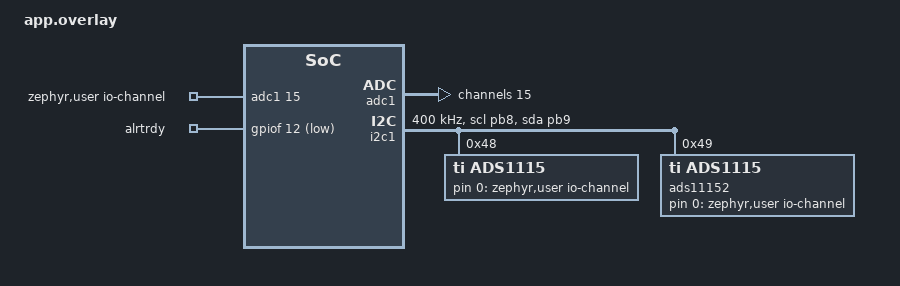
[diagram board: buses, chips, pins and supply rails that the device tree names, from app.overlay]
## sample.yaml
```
sample:
  description: Current Sensor on Modbus TCP with STM32H743ZI
  name: current_sensor_modbus
common:
  tags: Current Sensor for PV Power Plant
  integration_platforms:
    - native_posix
  harness: console
  harness_config:
    type: one_line
```

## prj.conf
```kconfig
CONFIG_LOG=y
CONFIG_ADC=y
```

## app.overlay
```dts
/ {
	zephyr,user {
		/* adjust channel number according to pinmux in board.dts */
		io-channels = <&ads1115 0>, <&ads11152 0>, <&adc1 15>;
	};
	intpins {
		compatible = "gpio-keys";
		alrtrdy: alrtrdy {
			gpios = <&gpiof 12 GPIO_ACTIVE_LOW>;
		};
	};
};

// use adc on PA3 from nucleo_h743zi.dts, predefined
&adc1 {
	#address-cells = <1>;
	#size-cells = <0>;
	channel@f {
		reg = <15>;
		zephyr,gain = "ADC_GAIN_1";
		zephyr,reference = "ADC_REF_INTERNAL";
		zephyr,resolution = <16>;
		zephyr,acquisition-time = <ADC_ACQ_TIME_DEFAULT>;
		// zephyr,vref-mv = <3300>;
	};
};

&i2c1 {
	pinctrl-0 = <&i2c1_scl_pb8 &i2c1_sda_pb9>;
	// pinctrl-names = "default";
	status = "okay";
	clock-frequency = <I2C_BITRATE_FAST>;

	ads1115: ads1115@48 {
		status = "okay";
		compatible = "ti,ads1115";
		reg = <0x48>;
		#io-channel-cells = <1>;
		#address-cells = <1>;
		#size-cells = <0>;
		channel@0 {
			reg = <0>;
			zephyr,gain = "ADC_GAIN_1";
			zephyr,reference = "ADC_REF_INTERNAL";
			zephyr,resolution = <16>;
			zephyr,differential;
			zephyr,input-positive = <0>;
			zephyr,input-negative = <1>;
			zephyr,acquisition-time = <ADC_ACQ_TIME_DEFAULT>;
		};

		channel@1 {
			reg = <1>;
			zephyr,gain = "ADC_GAIN_1";
			zephyr,reference = "ADC_REF_INTERNAL";
			zephyr,resolution = <16>;
			zephyr,differential;
			zephyr,input-positive = <2>;
			zephyr,input-negative = <3>;
			zephyr,acquisition-time = <ADC_ACQ_TIME_DEFAULT>;
		};
	};

	ads11152: ads1115@49 {
		status = "okay";
		compatible = "ti,ads1115";
		reg = <0x49>;
		#io-channel-cells = <1>;
		#address-cells = <1>;
		#size-cells = <0>;
		channel@0 {
			reg = <0>;
			zephyr,gain = "ADC_GAIN_1";
			zephyr,reference = "ADC_REF_INTERNAL";
			zephyr,resolution = <16>;
			zephyr,differential;
			zephyr,input-positive = <0>;
			zephyr,input-negative = <1>;
			zephyr,acquisition-time = <ADC_ACQ_TIME_DEFAULT>;
		};

		channel@1 {
			reg = <1>;
			zephyr,gain = "ADC_GAIN_1";
			zephyr,reference = "ADC_REF_INTERNAL";
			zephyr,resolution = <16>;
			zephyr,differential;
			zephyr,input-positive = <2>;
			zephyr,input-negative = <3>;
			zephyr,acquisition-time = <ADC_ACQ_TIME_DEFAULT>;
		};
	};
};
```

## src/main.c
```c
#include <zephyr/kernel.h>
#include <zephyr/device.h>
#include <zephyr/devicetree.h>
#include <zephyr/drivers/sensor.h>
#include <zephyr/drivers/i2c.h>
#include <zephyr/drivers/adc.h>
#include <zephyr/logging/log.h>
#include <zephyr/sys/printk.h>
#include <zephyr/sys/util.h>

LOG_MODULE_REGISTER(current_sensor_modbus, LOG_LEVEL_DBG);

#if !DT_NODE_EXISTS(DT_PATH(zephyr_user)) || \
	!DT_NODE_HAS_PROP(DT_PATH(zephyr_user), io_channels)
#error "No suitable devicetree overlay zephyr_user specified"
#endif
 
void print_adc_cfg(struct adc_channel_cfg* adc_cfg) 
{
	printk("\n");
	printk("adc_channel_cfg\n");
	printk("   .gain %d\n", adc_cfg->gain);
	printk("   .reference %d\n", adc_cfg->reference);
	printk("   .acquisition_time %d\n", adc_cfg->acquisition_time);
	printk("   .channel_id %d\n", adc_cfg->channel_id);
	printk("   .differential %d\n", adc_cfg->differential);
	printk("   .input_positive %d\n", adc_cfg->input_positive);
	printk("   .input_negative %d\n", adc_cfg->input_negative);
	printk("\n");
}

void print_adc_seq(struct adc_sequence* sequence) 
{
	printk("\n");
	printk("adc_sequence\n");
	printk("   .buffer %d\n", sequence->buffer);
	printk("   .buffer_size %d\n", sequence->buffer_size);
	printk("   .calibrate %d\n", sequence->calibrate);
	printk("   .channels %d\n", sequence->channels);
	printk("   .options %d\n", sequence->options);
	printk("   .oversampling %d\n", sequence->oversampling);
	printk("   .resolution %d\n", sequence->resolution);
	printk("\n");
}

void read_mean_sequence_from_adc(const struct adc_dt_spec *adc_spec, 
								 const struct adc_sequence *sequence, 
								 int32_t *result)
{
	int32_t sum = 0;
	int16_t *buffer = sequence->buffer;
	size_t buffer_size = sequence->buffer_size / sizeof(int16_t);
	
	if (adc_read_dt(adc_spec, sequence)) {
		LOG_ERR("ADC [%s] adc_read_dt failed!\n", adc_spec->dev->name);
		return;
	}		
	for(size_t i=0; i<buffer_size; i++) {
		sum += *(buffer+i);
	}
	*result = sum / (int32_t) buffer_size;
}
 

int main(void)
{
	printk("Current Sensors over Modbus TCP on STM32 [%s]\n", CONFIG_BOARD);
	static const struct adc_dt_spec adc_spec  = ADC_DT_SPEC_GET_BY_IDX(DT_PATH(zephyr_user),0);
	static const struct adc_dt_spec adc_spec2 = ADC_DT_SPEC_GET_BY_IDX(DT_PATH(zephyr_user),1);
	static const struct adc_dt_spec adc_pa3   = ADC_DT_SPEC_GET_BY_IDX(DT_PATH(zephyr_user),2);

	if (!adc_is_ready_dt(&adc_spec)) {
		LOG_ERR("ADC [%s] not ready!\n", adc_spec.dev->name);
		return 0;
	}
	if (!adc_is_ready_dt(&adc_spec2)) {
		LOG_ERR("ADC [%s] not ready!\n", adc_spec2.dev->name);
		return 0;
	}	
	if (!adc_is_ready_dt(&adc_pa3)) {
		LOG_ERR("ADC [%s] not ready!\n", adc_pa3.dev->name);
		return 0;
	}

	int ret = 0;
	ret = adc_channel_setup_dt(&adc_pa3);
	if (ret != 0) {
		LOG_ERR("ADC [%s] adc_channel_setup_dt failed with %d!\n", adc_pa3.dev->name, ret);
	}

	static struct adc_channel_cfg adc_cfg2 = 
	{
		.gain             = ADC_GAIN_1,
		.reference        = ADC_REF_INTERNAL,
		// .acquisition_time = ADC_ACQ_TIME(ADC_ACQ_TIME_TICKS, 7),
		.channel_id       = 15,
		// .differential	  = 1,
		.input_positive   = 0,
		// .input_negative   = 1,
	};
	print_adc_cfg(&adc_pa3.channel_cfg);
	print_adc_cfg(&adc_cfg2);
	// ret = adc_channel_setup(adc_pa3.dev, &adc_cfg2);
	// ret = adc_channel_setup_dt(&adc_pa3);
	// if (ret != 0) {
	// 	LOG_ERR("ADC [%s] adc_channel_setup failed with %d!\n", adc_pa3.dev->name, ret);
	// }

	uint16_t m_sample_buffer[6] = {0};
	struct adc_sequence sequenceOO = {
		.buffer = m_sample_buffer,
		.buffer_size = sizeof(m_sample_buffer),
		.resolution = 16,
		.channels = BIT(15),
		// .options = NULL,
		// .calibrate = 0,
	};
	print_adc_seq(&sequenceOO);
	// ret = adc_sequence_init_dt(&adc_pa3, &sequenceOO);
	// if (ret != 0) {
	// 	LOG_ERR("ADC [%s] adc_sequence_init_dt failed with %d!\n", adc_pa3.dev->name, ret);
	// }
	print_adc_seq(&sequenceOO);

	uint32_t tx = k_cycle_get_32();
	ret = adc_read_dt(&adc_pa3, &sequenceOO);
	printk("Took %d µs\n", k_cyc_to_us_floor32(k_cycle_get_32()-tx));
	if (ret != 0) {
		LOG_ERR("ADC [%s] adc_read_dt failed with %d!\n", adc_pa3.dev->name, ret);
	}
	for(size_t i=0; i<ARRAY_SIZE(m_sample_buffer); i++) {
		printk("m_sample_buffer[%d]= %d\n", i, m_sample_buffer[i]);
		k_sleep(K_MSEC(100));
	}
	int32_t result = m_sample_buffer[0];
	ret = adc_raw_to_millivolts_dt(&adc_pa3, &result);
	if (ret != 0) {
		LOG_ERR("ADC [%s] adc_raw_to_millivolts_dt failed with %d!\n", adc_pa3.dev->name, ret);
	}
	printk("result: %d mv\n", result);

	static struct adc_channel_cfg adc_cfg = 
	{
		.gain             = ADC_GAIN_1,
		.reference        = ADC_REF_INTERNAL,
		.acquisition_time = ADC_ACQ_TIME(ADC_ACQ_TIME_TICKS, 7),
		.channel_id       = 0,
		.differential	  = 1,
		.input_positive   = 0,
		.input_negative   = 1,
	};
	adc_channel_setup(adc_spec.dev, &adc_cfg);
	adc_channel_setup(adc_spec2.dev, &adc_cfg);
	// adc_channel_setup_dt(&adc_spec);
	print_adc_cfg(&adc_cfg);
	print_adc_cfg(&adc_spec.channel_cfg);

	// struct adc_sequence_options opts = 
	// {
    //     .interval_us = 1e6,
    //     .extra_samplings = 0,
	// };
	int16_t buf[16] = {0};
	struct adc_sequence sequence = {
		.options = NULL,
		.buffer = buf,
		.buffer_size = sizeof(buf),
		.resolution = 16,
		.channels = BIT(0),
		.oversampling = 0,
		.calibrate = 0
	};

	// int o = adc_read_async(adc_spec.dev, &sequence, NULL);
	// printk("%d\n", o);

	#define OFFSET_ZERO_A 27

	while(1) {
		uint32_t t0 = k_cycle_get_32();
		int32_t result = 0;
		read_mean_sequence_from_adc(&adc_spec, &sequence, &result);

		printk("Took %d ms\n", k_cyc_to_ms_floor32(k_cycle_get_32()-t0));
		printk("ADC raw (int32_t) %d dig\n", result);
		result += OFFSET_ZERO_A;
		printk("ADC +offset (int32_t) %d dig\n", result);

		if (adc_raw_to_millivolts_dt(&adc_spec, &result)) {
			LOG_ERR("ADC [%s] can't convert to mv!\n", adc_spec.dev->name);
			return 0;
		}
		printk("ADC reading (int32_t) %d mv\n", result);
		float current = (result)  * 0.1827821;
		printk("ADC reading (int32_t) %.2f A\n", current);
		printk("\n");


		t0 = k_cycle_get_32();
		result = 0;
		read_mean_sequence_from_adc(&adc_spec2, &sequence, &result);

		printk("Took %d ms\n", k_cyc_to_ms_floor32(k_cycle_get_32()-t0));
		printk("ADC2 raw (int32_t) %d dig\n", result);
		result += OFFSET_ZERO_A;
		printk("ADC2 +offset (int32_t) %d dig\n", result);

		if (adc_raw_to_millivolts_dt(&adc_spec2, &result)) {
			LOG_ERR("ADC2 [%s] can't convert to mv!\n", adc_spec2.dev->name);
			return 0;
		}
		printk("ADC2 reading (int32_t) %d mv\n", result);
		current = (result)  * 0.1827821;
		printk("ADC2 reading (int32_t) %.2f A\n", current);
		printk("\n");
		
		
		k_sleep(K_MSEC(5000));
	}

	return 0;
}
```
